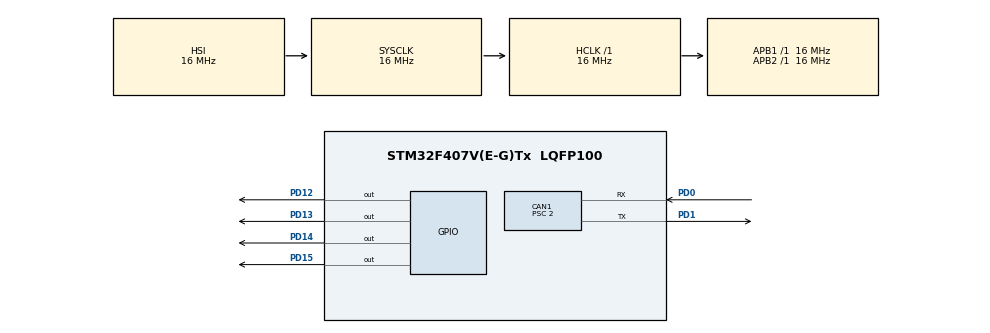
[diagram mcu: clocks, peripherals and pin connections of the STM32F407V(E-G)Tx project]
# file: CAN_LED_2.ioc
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CAN1.BS1=CAN_BS1_13TQ
CAN1.BS2=CAN_BS2_2TQ
CAN1.CalculateBaudRate=500000
CAN1.CalculateTimeBit=2000
CAN1.CalculateTimeQuantum=125.0
CAN1.NART=ENABLE
CAN1.Prescaler=2
Mcu.Family=STM32F4
Mcu.Name=STM32F407V(E-G)Tx
Mcu.Package=LQFP100
NVIC.CAN1_RX0_IRQn=true\:0\:0\:false\:false\:true\:true\:true\:true
NVIC.CAN1_RX1_IRQn=true\:0\:0\:false\:false\:true\:true\:true\:true
NVIC.CAN1_SCE_IRQn=true\:0\:0\:false\:false\:true\:true\:true\:true
NVIC.CAN1_TX_IRQn=true\:0\:0\:false\:false\:true\:true\:true\:true
NVIC.PriorityGroup=NVIC_PRIORITYGROUP_4
PD0.Mode=CAN_Activate
PD0.Signal=CAN1_RX
PD1.Mode=CAN_Activate
PD1.Signal=CAN1_TX
PD12.Signal=GPIO_Output
PD13.Signal=GPIO_Output
PD14.Signal=GPIO_Output
PD15.Signal=GPIO_Output
ProjectManager.HeapSize=0x200
ProjectManager.StackSize=0x400
ProjectManager.TargetToolchain=STM32CubeIDE
RCC.AHBFreq_Value=16000000
RCC.APB1Freq_Value=16000000
RCC.APB2Freq_Value=16000000
RCC.CortexFreq_Value=16000000
RCC.HSE_VALUE=25000000
RCC.HSI_VALUE=16000000
RCC.LSE_VALUE=32768
RCC.SYSCLKFreq_VALUE=16000000
RCC.VCOOutputFreq_Value=192000000
board=custom

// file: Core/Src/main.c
/* USER CODE BEGIN Header */
/**
  ******************************************************************************
  * @file           : main.c
  * @brief          : Main program body
  ******************************************************************************
  * @attention
  *
  * Copyright (c) 2026 STMicroelectronics.
  * All rights reserved.
  *
  * This software is licensed under terms that can be found in the LICENSE file
  * in the root directory of this software component.
  * If no LICENSE file comes with this software, it is provided AS-IS.
  *
  ******************************************************************************
  */
/* USER CODE END Header */
#include "main.h"

CAN_HandleTypeDef hcan1;

/* USER CODE BEGIN PV */
CAN_RxHeaderTypeDef RxHeader;
uint8_t RxData[8];

uint8_t ledIndex = 0;
uint16_t ledPins[4] = {GPIO_PIN_12, GPIO_PIN_13, GPIO_PIN_14, GPIO_PIN_15};
/* USER CODE END PV */

void SystemClock_Config(void);
static void MX_GPIO_Init(void);
static void MX_CAN1_Init(void);
/* USER CODE BEGIN PFP */
void HAL_CAN_RxFifo0MsgPendingCallback(CAN_HandleTypeDef *hcan);
/* USER CODE END PFP */

int main(void)
{

  /* MCU Configuration--------------------------------------------------------*/

  /* Reset of all peripherals, Initializes the Flash interface and the Systick. */
  HAL_Init();

  /* Configure the system clock */
  SystemClock_Config();

  /* Initialize all configured peripherals */
  MX_GPIO_Init();
  MX_CAN1_Init();
  /* USER CODE BEGIN 2 */
  CAN_FilterTypeDef canFilter;
  canFilter.FilterBank = 0;
  canFilter.FilterMode = CAN_FILTERMODE_IDMASK;
  canFilter.FilterScale = CAN_FILTERSCALE_32BIT;
  canFilter.FilterIdHigh = (0x100 << 5);      // StdId 0x100 shifted into bits[31:21]
  canFilter.FilterIdLow = 0x0000;
  canFilter.FilterMaskIdHigh = (0x7FF << 5);  // exact match on all 11 std ID bits
  canFilter.FilterMaskIdLow = 0x0000;
  canFilter.FilterFIFOAssignment = CAN_FILTER_FIFO0;
  canFilter.FilterActivation = ENABLE;
  canFilter.SlaveStartFilterBank = 14;

  if (HAL_CAN_ConfigFilter(&hcan1, &canFilter) != HAL_OK)
  {
    Error_Handler();
  }

  if (HAL_CAN_Start(&hcan1) != HAL_OK)
  {
    Error_Handler();
  }

  if (HAL_CAN_ActivateNotification(&hcan1, CAN_IT_RX_FIFO0_MSG_PENDING) != HAL_OK)
  {
    Error_Handler();
  }

  // Start with LED 0 (green, PD12) on, rest off
  HAL_GPIO_WritePin(GPIOD, ledPins[0], GPIO_PIN_SET);
  /* USER CODE END 2 */

  /* Infinite loop */
  while (1)
  {

  }
}

void SystemClock_Config(void)
{
  RCC_OscInitTypeDef RCC_OscInitStruct = {0};
  RCC_ClkInitTypeDef RCC_ClkInitStruct = {0};

  /** Configure the main internal regulator output voltage
  */
  __HAL_RCC_PWR_CLK_ENABLE();
  __HAL_PWR_VOLTAGESCALING_CONFIG(PWR_REGULATOR_VOLTAGE_SCALE1);

  /** Initializes the RCC Oscillators according to the specified parameters
  * in the RCC_OscInitTypeDef structure.
  */
  RCC_OscInitStruct.OscillatorType = RCC_OSCILLATORTYPE_HSI;
  RCC_OscInitStruct.HSIState = RCC_HSI_ON;
  RCC_OscInitStruct.HSICalibrationValue = RCC_HSICALIBRATION_DEFAULT;
  RCC_OscInitStruct.PLL.PLLState = RCC_PLL_NONE;
  if (HAL_RCC_OscConfig(&RCC_OscInitStruct) != HAL_OK)
  {
    Error_Handler();
  }

  /** Initializes the CPU, AHB and APB buses clocks
  */
  RCC_ClkInitStruct.ClockType = RCC_CLOCKTYPE_HCLK|RCC_CLOCKTYPE_SYSCLK
                              |RCC_CLOCKTYPE_PCLK1|RCC_CLOCKTYPE_PCLK2;
  RCC_ClkInitStruct.SYSCLKSource = RCC_SYSCLKSOURCE_HSI;
  RCC_ClkInitStruct.AHBCLKDivider = RCC_SYSCLK_DIV1;
  RCC_ClkInitStruct.APB1CLKDivider = RCC_HCLK_DIV1;
  RCC_ClkInitStruct.APB2CLKDivider = RCC_HCLK_DIV1;

  if (HAL_RCC_ClockConfig(&RCC_ClkInitStruct, FLASH_LATENCY_0) != HAL_OK)
  {
    Error_Handler();
  }
}

static void MX_CAN1_Init(void)
{

  hcan1.Instance = CAN1;
  hcan1.Init.Prescaler = 2;
  hcan1.Init.Mode = CAN_MODE_NORMAL;
  hcan1.Init.SyncJumpWidth = CAN_SJW_1TQ;
  hcan1.Init.TimeSeg1 = CAN_BS1_13TQ;
  hcan1.Init.TimeSeg2 = CAN_BS2_2TQ;
  hcan1.Init.TimeTriggeredMode = DISABLE;
  hcan1.Init.AutoBusOff = DISABLE;
  hcan1.Init.AutoWakeUp = DISABLE;
  hcan1.Init.AutoRetransmission = ENABLE;
  hcan1.Init.ReceiveFifoLocked = DISABLE;
  hcan1.Init.TransmitFifoPriority = DISABLE;
  if (HAL_CAN_Init(&hcan1) != HAL_OK)
  {
    Error_Handler();
  }

}

static void MX_GPIO_Init(void)
{
  GPIO_InitTypeDef GPIO_InitStruct = {0};

  /* GPIO Ports Clock Enable */
  __HAL_RCC_GPIOD_CLK_ENABLE();

  /*Configure GPIO pin Output Level */
  HAL_GPIO_WritePin(GPIOD, GPIO_PIN_12|GPIO_PIN_13|GPIO_PIN_14|GPIO_PIN_15, GPIO_PIN_RESET);

  /*Configure GPIO pins : PD12 PD13 PD14 PD15 */
  GPIO_InitStruct.Pin = GPIO_PIN_12|GPIO_PIN_13|GPIO_PIN_14|GPIO_PIN_15;
  GPIO_InitStruct.Mode = GPIO_MODE_OUTPUT_PP;
  GPIO_InitStruct.Pull = GPIO_NOPULL;
  GPIO_InitStruct.Speed = GPIO_SPEED_FREQ_LOW;
  HAL_GPIO_Init(GPIOD, &GPIO_InitStruct);

}

/* USER CODE BEGIN 4 */
void HAL_CAN_RxFifo0MsgPendingCallback(CAN_HandleTypeDef *hcan)
{
  if (HAL_CAN_GetRxMessage(hcan, CAN_RX_FIFO0, &RxHeader, RxData) == HAL_OK)
  {
    if (RxHeader.StdId == 0x100)
    {
      HAL_GPIO_WritePin(GPIOD, ledPins[ledIndex], GPIO_PIN_RESET);
      ledIndex = (ledIndex + 1) % 4;
      HAL_GPIO_WritePin(GPIOD, ledPins[ledIndex], GPIO_PIN_SET);
    }
  }
}
/* USER CODE END 4 */

void Error_Handler(void)
{
  __disable_irq();
  while (1)
  {
  }
}
